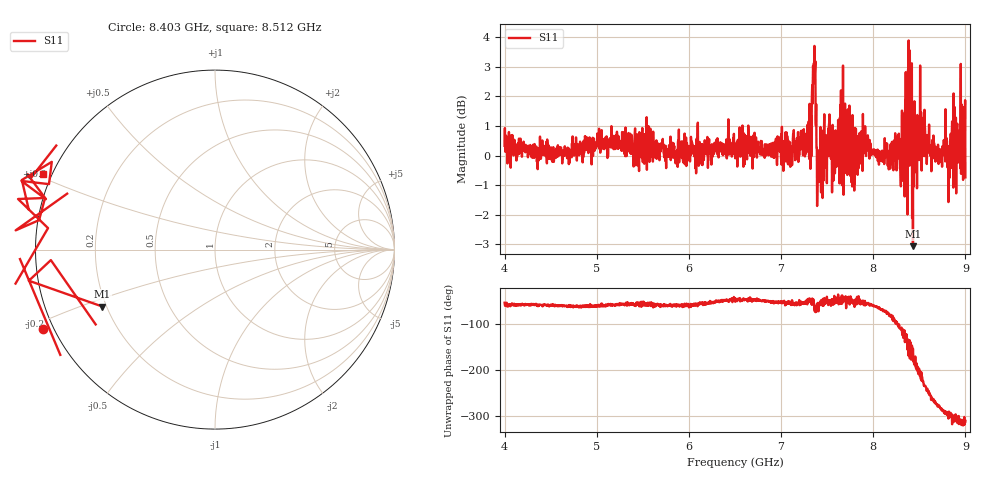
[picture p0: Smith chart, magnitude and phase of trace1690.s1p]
! Created with skrf 1.8.0 (http://scikit-rf.org).
# Hz S RI R 50.0
!freq ReS11 ImS11
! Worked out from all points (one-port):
!   1601 points, 4 GHz to 9 GHz, reference 50 ohm
!   lowest |S11| = -3.1 dB at 8.431 GHz (marker M1), VSWR 5.74, Z = 9.19 - j11.5 ohm
!   |S11| at or under -10 dB: nowhere
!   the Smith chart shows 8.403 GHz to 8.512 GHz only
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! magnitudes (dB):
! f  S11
! 4 GHz  0.3
! 4.625 GHz  -0.3
! 5.25 GHz  0.3
! 5.875 GHz  0.2
! 6.5 GHz  0.2
! 7.125 GHz  0.1
! 7.306 GHz  -0.1
! 7.356 GHz  3.1
! 7.409 GHz  -0.3
! 7.512 GHz  0.9
! 7.578 GHz  0.3
! 7.669 GHz  1.2
! 7.75 GHz  -0.7
! 7.775 GHz  1.4
! 7.928 GHz  0.2
! 8.097 GHz  0.2
! 8.253 GHz  -0.5
! 8.316 GHz  -0.7
! 8.375 GHz  1.9
! 8.394 GHz  -0.3
! 8.412 GHz  0.7
! 8.431 GHz  -3.1
! 8.447 GHz  1.8
! 8.459 GHz  -0.6
! 8.534 GHz  0.7
! 8.825 GHz  -0.2
! 8.956 GHz  0.1
! 9 GHz  -0.7
